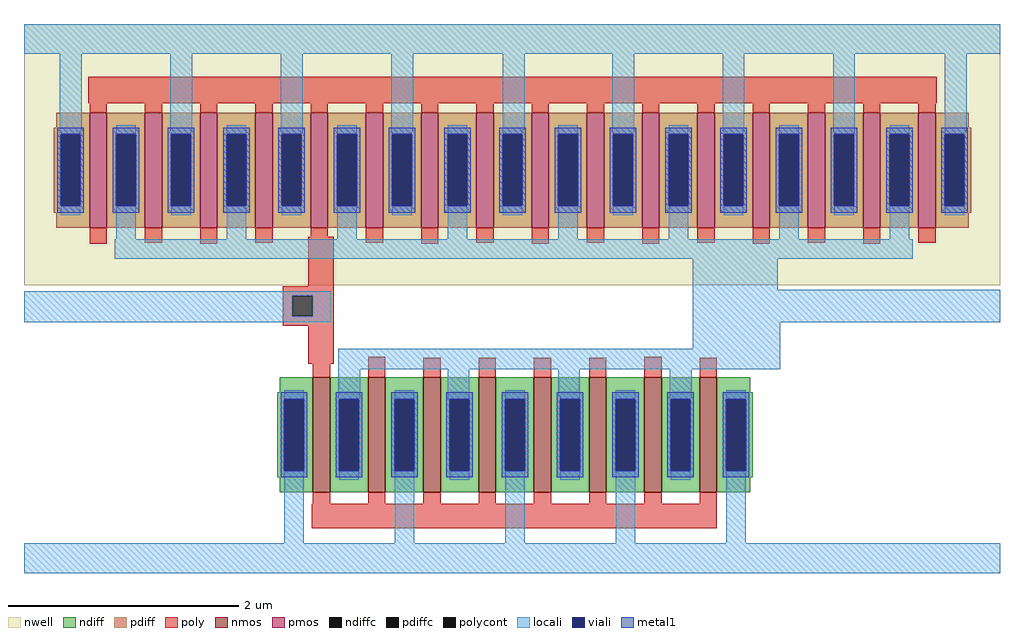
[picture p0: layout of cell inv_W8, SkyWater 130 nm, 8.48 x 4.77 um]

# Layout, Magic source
magic
tech sky130A
magscale 1 2
<< nwell >>
rect 354 500 2050 954
<< poly >>
rect 466 816 1940 862
rect 848 498 892 584
rect 804 482 892 498
rect 804 446 820 482
rect 856 446 892 482
rect 804 430 892 446
rect 848 364 892 430
<< polycont >>
rect 820 446 856 482
<< locali >>
rect 354 902 2050 954
rect 416 770 454 902
rect 608 768 646 902
rect 800 766 838 902
rect 992 768 1030 902
rect 1186 770 1224 902
rect 1376 766 1414 902
rect 1568 768 1606 902
rect 1760 766 1798 902
rect 1954 768 1992 902
rect 514 580 548 626
rect 706 580 740 630
rect 898 580 932 626
rect 1090 580 1124 630
rect 1282 580 1316 626
rect 1474 580 1508 628
rect 1666 580 1700 626
rect 1858 580 1892 628
rect 512 546 1898 580
rect 1516 492 1664 546
rect 354 482 888 490
rect 354 446 820 482
rect 856 446 888 482
rect 354 436 888 446
rect 1516 436 2050 492
rect 1516 390 1668 436
rect 900 354 1668 390
rect 900 304 938 354
rect 1090 302 1128 354
rect 1282 308 1320 354
rect 1476 304 1514 354
rect 806 52 840 168
rect 998 52 1032 174
rect 1190 52 1224 168
rect 1382 52 1416 174
rect 1574 52 1608 170
rect 354 0 2050 52
use sky130_fd_pr__nfet_01v8_KZU588  sky130_fd_pr__nfet_01v8_KZU588_0
transform 1 0 1207 0 1 240
box -413 -162 413 150
use sky130_fd_pr__pfet_01v8_RL4NCG  sky130_fd_pr__pfet_01v8_RL4NCG_0
transform 1 0 1203 0 1 700
box -833 -200 833 200
<< end >>

# cell sky130_fd_pr__nfet_01v8_KZU588: kit device sky130_fd_pr__nfet_01v8, w 1 l 0.150 m 1 nf 8 diffcov 70 polycov 70 guard 0 glc 0 grc 0 gtc 0 gbc 0 tbcov 70 rlcov 70 topc 0 botc 0 poverlap 0 doverlap 1 lmin 0.15 wmin 0.42 compatible {sky130_fd_pr__nfet_01v8 sky130_fd_pr__nfet_01v8_lvt sky130_fd_bs_flash__special_sonosfet_star sky130_fd_pr__nfet_g5v0d10v5 sky130_fd_pr__nfet_05v0_nvt sky130_fd_pr__nfet_03v3_nvt} full_metal 0 viasrc 70 viadrn 70 viagate 70 viagb 0 viagr 0 viagl 0 viagt 0

# cell sky130_fd_pr__pfet_01v8_RL4NCG: kit device sky130_fd_pr__pfet_01v8, w 1 l 0.15 m 1 nf 16 diffcov 70 polycov 70 guard 0 glc 0 grc 0 gtc 0 gbc 0 tbcov 70 rlcov 70 topc 0 botc 0 poverlap 0 doverlap 1 lmin 0.15 wmin 0.42 compatible {sky130_fd_pr__pfet_01v8 sky130_fd_pr__pfet_01v8_lvt sky130_fd_pr__pfet_01v8_hvt sky130_fd_pr__pfet_g5v0d10v5} full_metal 0 viasrc 70 viadrn 70 viagate 70 viagb 0 viagr 0 viagl 0 viagt 0
